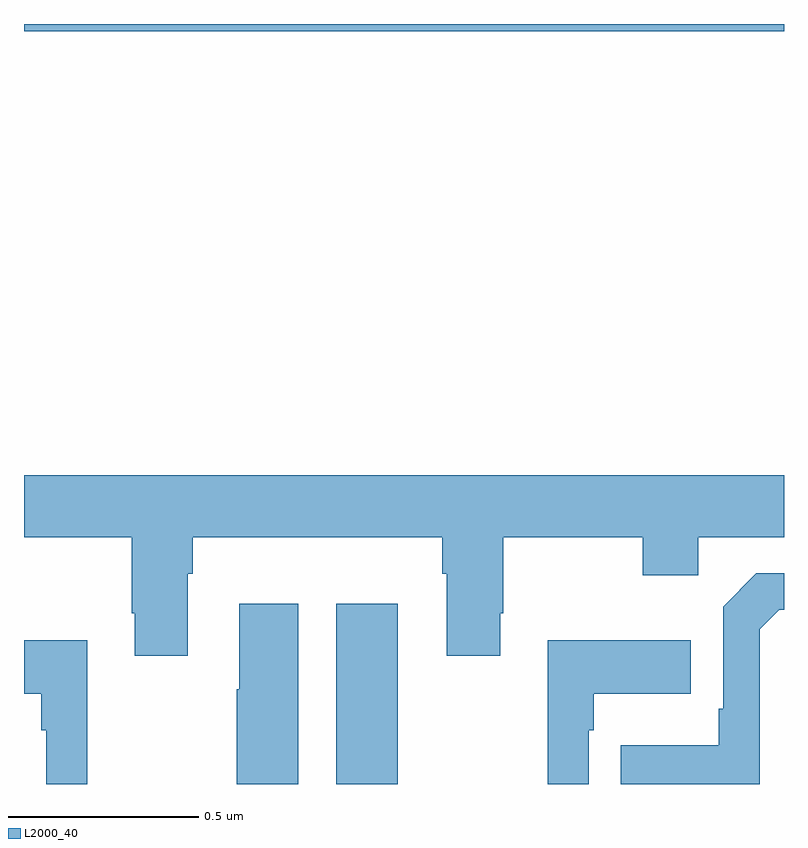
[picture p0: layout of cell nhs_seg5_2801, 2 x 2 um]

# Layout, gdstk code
import gdstk
lib = gdstk.Library(unit=1e-6, precision=1e-09)
def R(c, l, rs):  # rectangles x0, y0, x1, y1
    for r in rs: c.add(gdstk.rectangle(r[:2], r[2:], *l))
def P(c, l, *ps):  # polygons
    for p in ps: c.add(gdstk.Polygon(p, *l))
L2000_40 = (2000, 40)

nhs_seg5_2801 = lib.new_cell('nhs_seg5_2801')
R(nhs_seg5_2801, L2000_40, [(149.822,834.799,149.983,835.273), (149,836.78,151,836.799)])
P(nhs_seg5_2801, L2000_40, [(149.431,835.352),(149.444,835.352),(149.444,835.448),(150.101,835.448),(150.101,835.352),(150.113,835.352),(150.113,835.137),(150.253,835.137),(150.253,835.249),(150.261,835.249),(150.261,835.448),(150.628,835.448),(150.628,835.349),(150.774,835.349),(150.774,835.448),(151,835.448),(151,835.612),(149,835.612),(149,835.448),(149.284,835.448),(149.284,835.249),(149.291,835.249),(149.291,835.137),(149.431,835.137)],
  [(150.936,835.206),(150.987,835.257),(151,835.257),(151,835.353),(150.927,835.353),(150.84,835.266),(150.84,834.997),(150.828,834.997),(150.828,834.901),(150.571,834.901),(150.571,834.799),(150.936,834.799)],
  [(149.722,835.273),(149.567,835.273),(149.567,835.049),(149.56,835.049),(149.56,834.799),(149.722,834.799)],
  [(150.486,834.941),(150.499,834.941),(150.499,835.037),(150.755,835.037),(150.755,835.177),(150.378,835.177),(150.378,834.799),(150.486,834.799)],
  [(149.167,835.177),(149,835.177),(149,835.037),(149.046,835.037),(149.046,834.941),(149.058,834.941),(149.058,834.799),(149.167,834.799)])

lib.write_gds('nhs_seg5_2801.gds')
